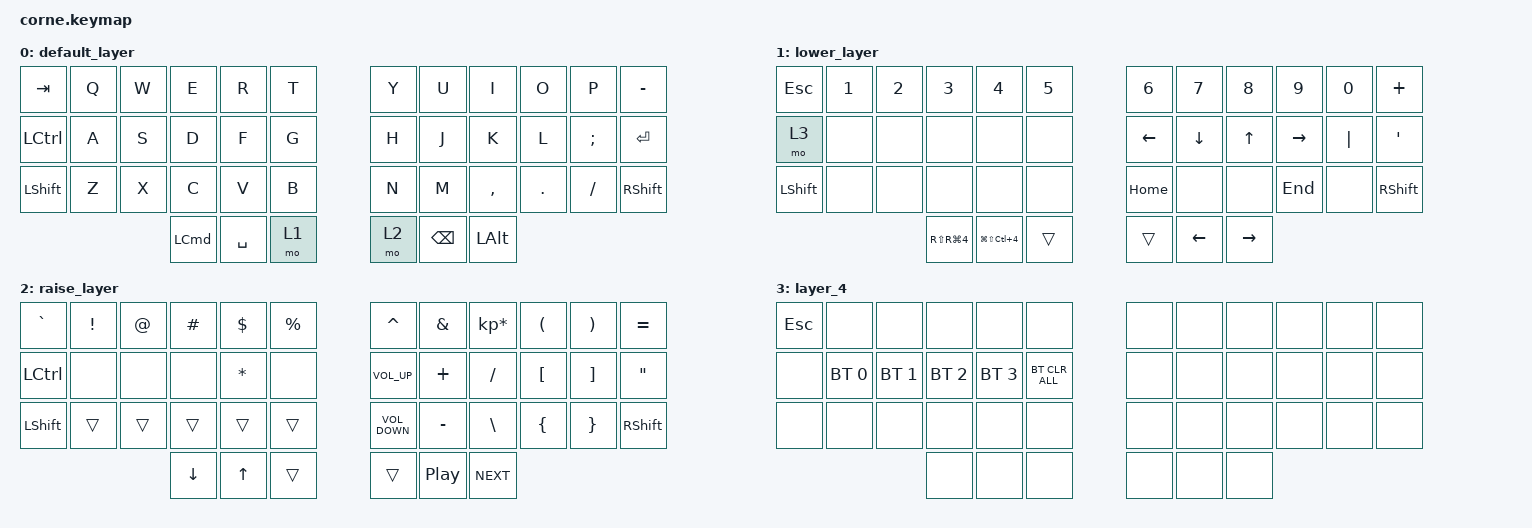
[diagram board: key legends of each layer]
/*
 * Copyright (c) 2020 The ZMK Contributors
 *
 * SPDX-License-Identifier: MIT
 */

#include <behaviors.dtsi>
#include <dt-bindings/zmk/bt.h>
#include <dt-bindings/zmk/keys.h>

/ {
    keymap {
        compatible = "zmk,keymap";

        default_layer {
            // -----------------------------------------------------------------------------------------
            // |  TAB |  Q  |  W  |  E  |  R  |  T  |   |  Y  |  U   |  I  |  O  |  P  | ALT  |
            // | CTRL |  A  |  S  |  D  |  F  |  G  |   |  H  |  J   |  K  |  L  |  ;  |  '   |
            // | SHFT |  Z  |  X  |  C  |  V  |  B  |   |  N  |  M   |  ,  |  .  |  /  | ESC  |
            //                    | GUI | LWR | SPC |   | BKSP| RSE  | RET |

            bindings = <
&kp TAB     &kp Q  &kp W  &kp E     &kp R      &kp T    &kp Y  &kp U          &kp I         &kp O    &kp P     &kp MINUS
&kp LCTRL   &kp A  &kp S  &kp D     &kp F      &kp G    &kp H  &kp J          &kp K         &kp L    &kp SEMI  &kp ENTER
&kp LSHIFT  &kp Z  &kp X  &kp C     &kp V      &kp B    &kp N  &kp M          &kp COMMA     &kp DOT  &kp FSLH  &kp RIGHT_SHIFT
                          &kp LCMD  &kp SPACE  &mo 1    &mo 2  &kp BACKSPACE  &kp LEFT_ALT
            >;
        };

        lower_layer {
            // -----------------------------------------------------------------------------------------
            // |  TAB |  1  |  2  |  3  |  4  |  5  |   |  6  |  7  |  8  |  9  |  0  | BKSP |
            // | BTCLR| BT1 | BT2 | BT3 | BT4 | BT5 |   | LFT | DWN |  UP | RGT |     |      |
            // | SHFT |     |     |     |     |     |   |     |     |     |     |     |      |
            //                    | GUI |     | SPC |   | ENT |     | ALT |

            bindings = <
&kp ESC    &kp N1  &kp N2  &kp N3                &kp N4                    &kp N5    &kp N6    &kp N7          &kp N8     &kp N9     &kp N0    &kp PLUS
&mo 3      &none   &none   &none                 &none                     &none     &kp LEFT  &kp DOWN        &kp UP     &kp RIGHT  &kp PIPE  &kp SQT
&kp LSHFT  &none   &none   &none                 &none                     &none     &kp HOME  &none           &none      &kp END    &none     &kp RIGHT_SHIFT
                           &kp RS(RG(NUMBER_4))  &kp LG(LS(LC(NUMBER_4)))  &trans    &trans    &kp LEFT_ARROW  &kp RIGHT
            >;
        };

        raise_layer {
            // -----------------------------------------------------------------------------------------
            // |  TAB |  !  |  @  |  #  |  $  |  %  |   |  ^  |  &  |  *  |  (  |  )  | BKSP |
            // | CTRL |     |     |     |     |     |   |  -  |  =  |  [  |  ]  |  \  |  `   |
            // | SHFT |     |     |     |     |     |   |  _  |  +  |  {  |  }  | "|" |  ~   |
            //                    | GUI |     | SPC |   | ENT |     | ALT |

            bindings = <
&kp GRAVE  &kp EXCL  &kp AT  &kp HASH  &kp DLLR      &kp PRCNT    &kp CARET          &kp AMPS          &kp KP_MULTIPLY  &kp LPAR  &kp RPAR  &kp EQUAL
&kp LCTRL  &none     &none   &none     &kp STAR      &none        &kp C_VOLUME_UP    &kp PLUS          &kp SLASH        &kp LBKT  &kp RBKT  &kp DOUBLE_QUOTES
&kp LSHFT  &trans    &trans  &trans    &trans        &trans       &kp C_VOLUME_DOWN  &kp MINUS         &kp BACKSLASH    &kp LBRC  &kp RBRC  &kp RIGHT_SHIFT
                             &kp DOWN  &kp UP_ARROW  &trans       &trans             &kp C_PLAY_PAUSE  &kp C_NEXT
            >;
        };

        layer_4 {
            bindings = <
&kp ESC  &none         &none         &none         &none         &none             &none  &none  &none  &none  &none  &none
&none    &bt BT_SEL 0  &bt BT_SEL 1  &bt BT_SEL 2  &bt BT_SEL 3  &bt BT_CLR_ALL    &none  &none  &none  &none  &none  &none
&none    &none         &none         &none         &none         &none             &none  &none  &none  &none  &none  &none
                                     &none         &none         &none             &none  &none  &none
            >;
        };
    };
};
